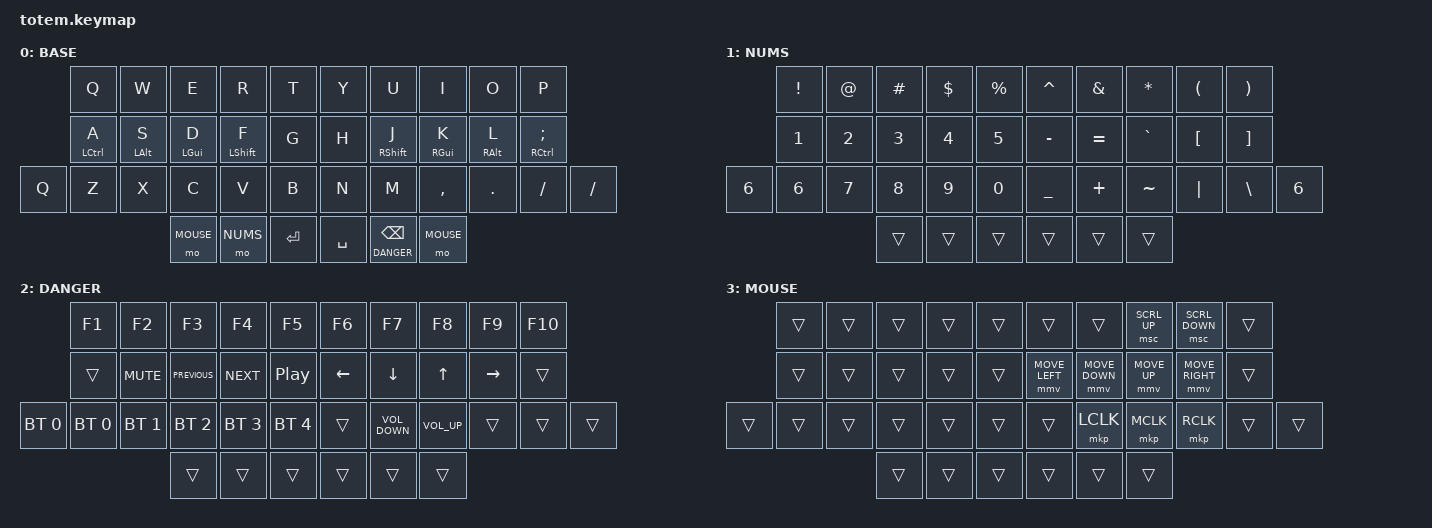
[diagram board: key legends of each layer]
//
//                                                        ▀▀▀▀▀     ▀▀▀▀▀          ▀▀█▀▀
//                                                        ▄▀▀▀▄  ▄  ▄▀▀▀▄  ▄  ▄▀▀▀▄  █  ▄▀▀▀▄
//                                                        █   █  █  █   █  █  █   █  █  █   █
//                                                         ▀▀▀   █   ▀▀▀   █   ▀▀▀   ▀   ▀▀▀
//                                                               █      ▄▄▄█▄▄▄    █   █
//                                                               ▀      █  █  █     █▄█
//                                                             ▀▀▀▀▀    █  █  █      ▀
//                                                                      ▀  ▀  ▀
//
// ▄▄▄▄▄▄▄▄▄▄▄▄▄▄▄▄▄▄▄▄▄▄▄▄▄▄▄▄▄▄▄▄▄▄▄▄▄▄▄▄▄▄▄▄▄▄▄▄▄▄▄▄▄▄▄▄▄▄▄▄▄▄▄▄▄▄▄▄▄▄▄▄▄▄▄▄▄▄▄▄▄▄▄▄▄▄▄▄▄▄▄▄▄▄▄▄▄▄▄▄▄▄▄▄▄▄▄▄▄▄▄▄▄▄▄▄▄▄▄▄▄▄▄▄▄▄▄▄▄▄▄▄▄▄▄▄▄▄▄▄▄▄▄▄▄▄▄▄▄

#include "zmk-helpers/helper.h"
#include "zmk-helpers/key-labels/totem.h"

#include <behaviors.dtsi>
#include <dt-bindings/zmk/bt.h>
#include <dt-bindings/zmk/keys.h>
#include <dt-bindings/zmk/pointing.h>

#include "shared/layers.h"

#define KEYS_L LT0 LT1 LT2 LT3 LT4 LM0 LM1 LM2 LM3 LM4 LB0 LB1 LB2 LB3 LB4  // left-hand keys
#define KEYS_R RT0 RT1 RT2 RT3 RT4 RM0 RM1 RM2 RM3 RM4 RB0 RB1 RB2 RB3 RB4  // right-hand keys
#define KEYS_T LH2 LH1 LH0 RH0 RH1 RH2                                      // thumb keys

#include "shared/behaviors.dtsi"
#include "shared/combos.dtsi"

/ {
    combos {
        bt_clr {
            bindings = <&bt BT_CLR>;
            key-positions = <LB5 RB5>;
            layers = <DANGER>;
        };
    };

    keymap {
        compatible = "zmk,keymap";

        default_layer {
            display-name = "BASE";
            bindings = <
       &kp Q          &kp W         &kp E         &kp R          &kp T          &kp Y        &kp U            &kp I         &kp O         &kp P
       &hm_l LCTRL A  &hm_l LALT S  &hm_l LGUI D  &hm_l LSHFT F  &kp G          &kp H        &hm_r RSHFT J    &hm_r RGUI K  &hm_r RALT L  &hm_r RCTRL SEMI
&kp Q  &kp Z          &kp X         &kp C         &kp V          &kp B          &kp N        &kp M            &kp COMMA     &kp DOT       &kp SLASH         &kp SLASH
                                    &mo MOUSE      &mo NUMS       &kp ENTER      &kp SPACE    &lt DANGER BACKSPACE  &mo MOUSE
            >;
        };

        raise_layer {
            display-name = "NUMS";
            bindings = <
              &kp EXCL      &kp AT        &kp HASH      &kp DLLR      &kp PRCNT       &kp CARET  &kp AMPS   &kp ASTRK  &kp LPAR          &kp RPAR
              &kp NUMBER_1  &kp NUMBER_2  &kp NUMBER_3  &kp NUMBER_4  &kp NUMBER_5    &kp MINUS  &kp EQUAL  &kp GRAVE  &kp LEFT_BRACKET  &kp RIGHT_BRACKET
&kp NUMBER_6  &kp NUMBER_6  &kp NUMBER_7  &kp NUMBER_8  &kp N9        &kp NUMBER_0    &kp UNDER  &kp PLUS   &kp TILDE  &kp PIPE          &kp BACKSLASH      &kp NUMBER_6
                                          &trans        &trans        &trans          &trans     &trans     &trans
            >;
        };

        lower_layer {
            display-name = "DANGER";
            bindings = <
              &kp F1        &kp F2        &kp F3          &kp F4        &kp F5              &kp F6    &kp F7             &kp F8           &kp F9     &kp F10
              &trans        &kp C_MUTE    &kp C_PREVIOUS  &kp C_NEXT    &kp C_PLAY_PAUSE    &kp LEFT  &kp DOWN           &kp UP           &kp RIGHT  &trans
&bt BT_SEL 0  &bt BT_SEL 0  &bt BT_SEL 1  &bt BT_SEL 2    &bt BT_SEL 3  &bt BT_SEL 4        &trans    &kp C_VOLUME_DOWN  &kp C_VOLUME_UP  &trans     &trans   &trans
                                          &trans          &trans        &trans              &trans    &trans             &trans
            >;
        };

        mouse_layer {
            display-name = "MOUSE";
            bindings = <
        &trans  &trans &trans  &trans  &trans      &trans         &trans         &msc SCRL_UP  &msc SCRL_DOWN  &trans
        &trans  &trans &trans  &trans  &trans      &mmv MOVE_LEFT &mmv MOVE_DOWN &mmv MOVE_UP  &mmv MOVE_RIGHT &trans
&trans  &trans  &trans &trans  &trans  &trans      &trans         &mkp LCLK      &mkp MCLK     &mkp RCLK       &trans  &trans
                       &trans  &trans  &trans      &trans         &trans         &trans
            >;
        };
    };
};
